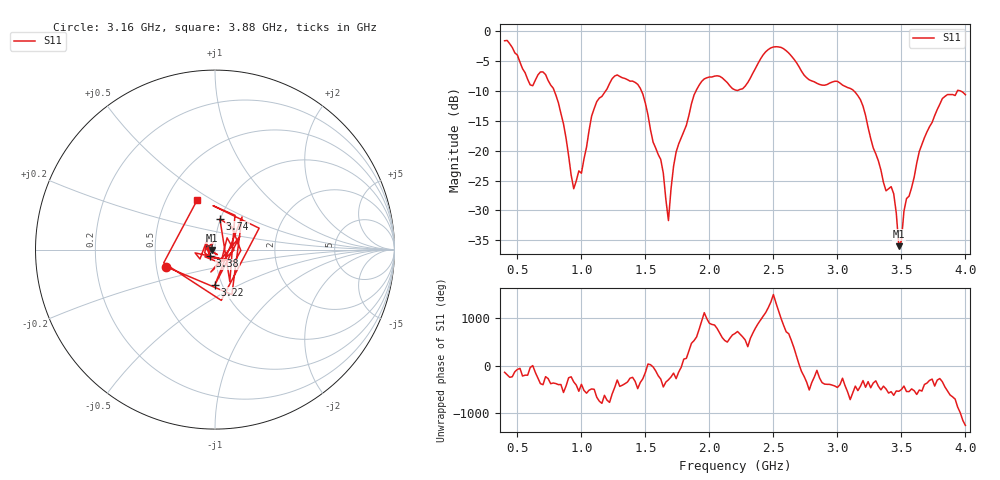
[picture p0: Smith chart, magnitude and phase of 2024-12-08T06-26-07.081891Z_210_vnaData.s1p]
!Created with skrf (http://scikit-rf.org).
# Hz S RI R 50.0
!freq ReS11 ImS11
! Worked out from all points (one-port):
!   181 points, 400 MHz to 4 GHz, reference 50 ohm
!   lowest |S11| = -36.0 dB at 3.48 GHz (marker M1), VSWR 1.03, Z = 48.4 - j0.141 ohm
!   |S11| at or under -10 dB: 788.4 MHz to 1.189 GHz (400.9 MHz wide, 40.5 % of centre); 1.469 GHz to 1.895 GHz (425.5 MHz wide, 25.3 % of centre); 3.129 GHz to 3.937 GHz (807.8 MHz wide, 22.9 % of centre) (the widest 3 of 4)
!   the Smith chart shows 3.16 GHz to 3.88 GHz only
!   S11 on the Smith chart (normalised r, x): 3.16 GHz: 0.56, -0.12; 3.22 GHz: 0.92, -0.38; 3.38 GHz: 0.95, -0.07; 3.74 GHz: 1.00, +0.35; 3.88 GHz: 0.71, +0.43
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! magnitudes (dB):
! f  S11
! 400 MHz  -1.6
! 600 MHz  -9.0
! 720 MHz  -7.2
! 860 MHz  -15.5
! 940 MHz  -26.4
! 1 GHz  -23.8
! 1.12 GHz  -11.8
! 1.3 GHz  -7.6
! 1.48 GHz  -10.5
! 1.62 GHz  -21.5
! 1.68 GHz  -31.7
! 1.72 GHz  -22.6
! 1.76 GHz  -18.9
! 1.94 GHz  -8.4
! 2.2 GHz  -9.8
! 2.48 GHz  -2.8
! 2.66 GHz  -4.6
! 2.78 GHz  -8.1
! 3.1 GHz  -9.6
! 3.16 GHz  -10.8
! 3.22 GHz  -14.1
! 3.38 GHz  -26.7
! 3.44 GHz  -27.2
! 3.48 GHz  -36.0
! 3.56 GHz  -27.6
! 3.74 GHz  -15.3
! 3.88 GHz  -10.6
! 4 GHz  -10.6
